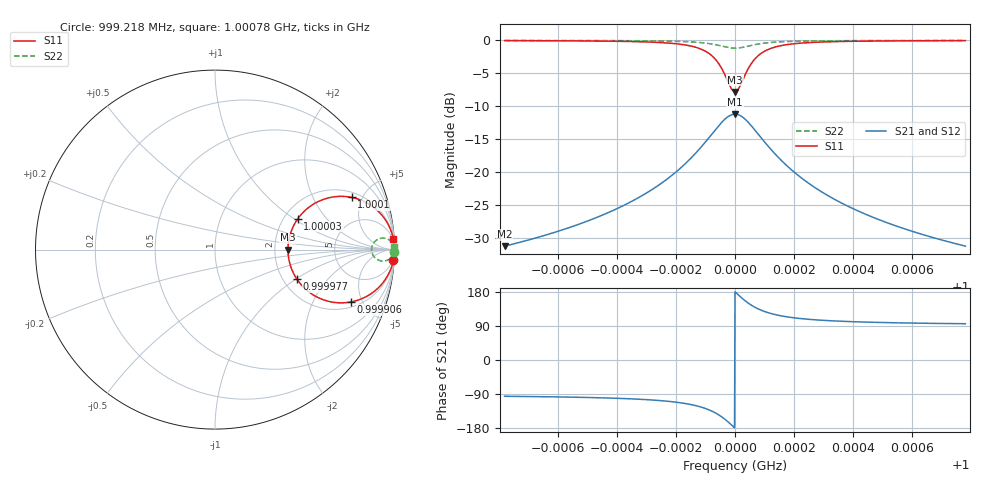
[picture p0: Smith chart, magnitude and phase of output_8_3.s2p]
! File generated for n1 = 8, n2 = 3
! b1 = 0.464159
! b2 = 0.100000
! Q0 = 10000.000000
! f0 = 1000000000.000000
! n = 1001
! rel_span = 10.000000
# Hz S RI R 50
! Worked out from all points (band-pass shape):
!   1001 points, 999.218 MHz to 1.00078 GHz, reference 50 ohm
!   highest |S21| = -11.20 dB at 1 GHz (marker M1); lowest = -31.2 dB at 999.218 MHz (marker M2)
!   |S21| within 3 dB of the highest: 999.922 MHz to 1.000078 GHz (156 kHz wide, 0.0156 % of centre)
!   lowest |S11| = -7.8 dB at 1 GHz (marker M3), VSWR 2.37, Z = 118 + j0 ohm
!   |S11| at or under -10 dB: nowhere
!   |S22| runs from -1.2 to 0.0 dB; largest |S21 - S12| = 0
!   S11 on the Smith chart (normalised r, x): 999.218 MHz: 2, -34; 999.906 MHz: 2.37, -4.04; 999.977 MHz: 2.37, -1.01; 1.00003 GHz: 2.37, +1.08; 1.0001 GHz: 2.37, +4.11; 1.00078 GHz: 2, +34
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9.992179e8  0.9941 -0.0587  -0.00273 -0.0273  -0.00273 -0.0273  0.9987 -0.0127
9.994791e8  0.9869 -0.0871  -0.00607 -0.0404  -0.00607 -0.0404  0.9972 -0.0188
9.99623e8  0.9755 -0.118  -0.0114 -0.0548  -0.0114 -0.0548  0.9947 -0.0254
9.997403e8  0.9506 -0.1639  -0.0229 -0.0761  -0.0229 -0.0761  0.9894 -0.0353
9.998405e8  0.885 -0.2346  -0.0534 -0.1089  -0.0534 -0.1089  0.9752 -0.0505
9.998764e8  0.8303 -0.2682  -0.0788 -0.1245  -0.0788 -0.1245  0.9634 -0.0578
9.999062e8  0.7568 -0.2919  -0.1129 -0.1355  -0.1129 -0.1355  0.9476 -0.0629
9.999453e8  0.6017 -0.2788  -0.1849 -0.1294  -0.1849 -0.1294  0.9142 -0.0601
9.999609e8  0.5252 -0.2374  -0.2204 -0.1102  -0.2204 -0.1102  0.8977 -0.0511
9.999765e8  0.4555 -0.1633  -0.2527 -0.0758  -0.2527 -0.0758  0.8827 -0.0352
9.999891e8  0.4179 -0.0815  -0.2702 -0.0378  -0.2702 -0.0378  0.8746 -0.0176
1e9  0.4065 0  -0.2755 0  -0.2755 0  0.8721 0
1.000011e9  0.4179 0.0815  -0.2702 0.0378  -0.2702 0.0378  0.8746 0.0176
1.000025e9  0.4616 0.1723  -0.2499 0.08  -0.2499 0.08  0.884 0.0371
1.000055e9  0.6017 0.2788  -0.1849 0.1294  -0.1849 0.1294  0.9142 0.0601
1.000095e9  0.7615 0.291  -0.1107 0.1351  -0.1107 0.1351  0.9486 0.0627
1.000125e9  0.8333 0.2667  -0.0774 0.1238  -0.0774 0.1238  0.9641 0.0575
1.000161e9  0.8868 0.2332  -0.0525 0.1082  -0.0525 0.1082  0.9756 0.0502
1.000261e9  0.9512 0.1631  -0.0227 0.0757  -0.0227 0.0757  0.9895 0.0351
1.000379e9  0.9757 0.1176  -0.0113 0.0546  -0.0113 0.0546  0.9948 0.0253
1.000522e9  0.987 0.0869  -0.00604 0.0403  -0.00604 0.0403  0.9972 0.0187
1.000782e9  0.9941 0.0588  -0.00273 0.0273  -0.00273 0.0273  0.9987 0.0127
